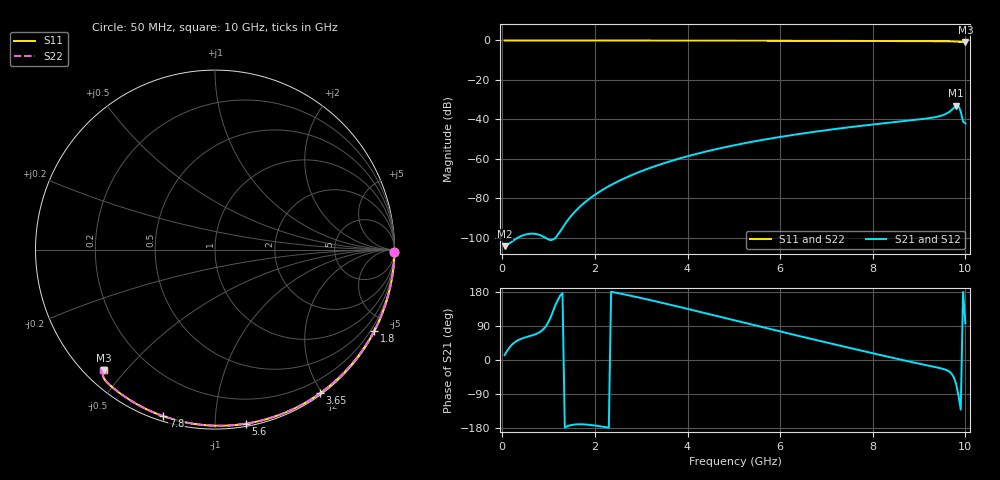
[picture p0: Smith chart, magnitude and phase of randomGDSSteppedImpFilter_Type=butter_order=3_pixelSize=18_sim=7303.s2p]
! freq	dB(S11)	phase(S11)	dB(S12)	phase(S12)
!  dB(S21)	phase(S21)	dB(S22)	phase(S22)
!S-par simulation data
#  GHz  S  DB  R 50
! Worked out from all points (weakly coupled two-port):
!   200 points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, 50 MHz to 10 GHz, reference 50 ohm
!   highest |S21| = -33.07 dB at 9.8 GHz (marker M1); lowest = -104.3 dB at 50 MHz (marker M2)
!   lowest |S11| = -0.8 dB at 10 GHz (marker M3), VSWR 22.32, Z = 2.67 - j21.8 ohm
!   |S11| at or under -10 dB: nowhere
!   |S22| runs from -0.8 to 0.0 dB; largest |S21 - S12| = 0
!   S11 on the Smith chart (normalised r, x): 50 MHz: open; 1.8 GHz: 0.04, -4.14; 3.65 GHz: 0.02, -1.97; 5.6 GHz: 0.02, -1.19; 7.8 GHz: 0.02, -0.74; 10 GHz: 0.05, -0.44
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0.05  -0.00 -0.8  -104.27 12.8  -104.27 12.8  -0.00 -0.8
0.9  -0.02 -13.7  -99.64 82.9  -99.64 82.9  -0.02 -13.7
1.75  -0.03 -26.4  -82.72 -169.9  -82.72 -169.9  -0.03 -26.4
1.8  -0.03 -27.2  -81.73 -170.3  -81.73 -170.3  -0.03 -27.2
1.9  -0.04 -28.6  -79.90 -171.4  -79.90 -171.4  -0.04 -28.6
2.25  -0.04 -33.8  -74.54 -177.8  -74.54 -177.8  -0.04 -33.8
2.65  -0.05 -39.6  -69.75 172.7  -69.75 172.7  -0.05 -39.6
3.4  -0.07 -50.3  -62.92 152.3  -62.92 152.3  -0.07 -50.3
3.65  -0.07 -53.8  -61.06 145.1  -61.06 145.1  -0.07 -53.8
4.3  -0.09 -62.8  -56.87 126.0  -56.87 126.0  -0.09 -62.8
5.05  -0.11 -72.8  -52.93 103.6  -52.93 103.6  -0.11 -72.8
5.6  -0.13 -80.0  -50.49 87.2  -50.49 87.2  -0.13 -80.0
6.7  -0.18 -93.8  -46.43 54.9  -46.43 54.9  -0.18 -93.8
7.8  -0.25 -107.2  -43.14 23.4  -43.14 23.4  -0.25 -107.2
8.35  -0.29 -113.7  -41.70 7.9  -41.70 7.9  -0.29 -113.7
9.45  -0.39 -126.8  -38.32 -21.4  -38.32 -21.4  -0.39 -126.8
9.65  -0.43 -129.5  -36.24 -30.4  -36.24 -30.4  -0.42 -129.5
9.8  -0.58 -131.9  -33.07 -63.3  -33.07 -63.3  -0.56 -131.9
9.85  -0.70 -132.2  -33.22 -93.1  -33.22 -93.1  -0.67 -132.2
9.9  -0.75 -132.1  -36.08 -130.8  -36.08 -130.8  -0.72 -132.3
9.95  -0.75 -132.4  -41.10 179.5  -41.10 179.5  -0.73 -132.6
10  -0.78 -132.7  -42.06 96.7  -42.06 96.7  -0.78 -133.0
